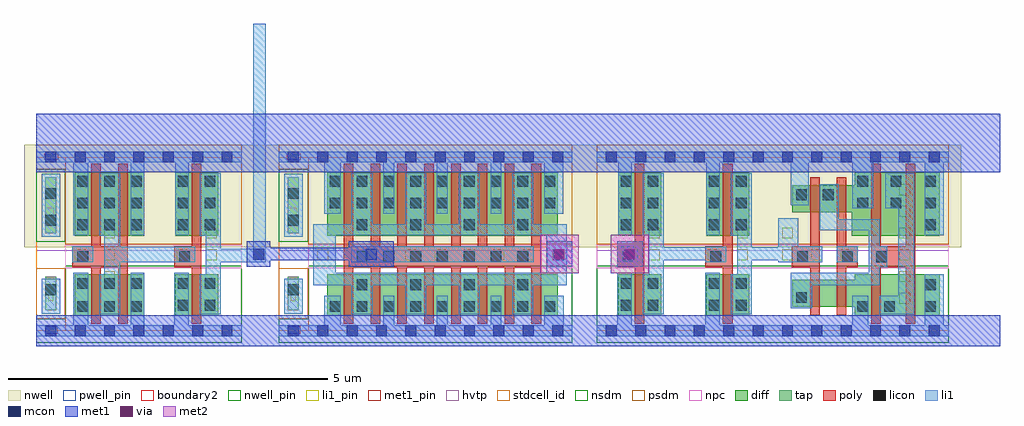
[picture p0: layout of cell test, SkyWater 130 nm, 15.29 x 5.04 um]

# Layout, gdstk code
import gdstk
lib = gdstk.Library(unit=1e-6, precision=1e-09)
def R(c, l, rs):  # rectangles x0, y0, x1, y1
    for r in rs: c.add(gdstk.rectangle(r[:2], r[2:], *l))
def A(c, l, x, y, w, h, nx, ny, dx, dy):  # array of equal rectangles
    R(c, l, [(x+i*dx, y+j*dy, x+i*dx+w, y+j*dy+h) for i in range(nx) for j in range(ny)])
def P(c, l, *ps):  # polygons
    for p in ps: c.add(gdstk.Polygon(p, *l))
nwell_pin = (64, 16)
nwell = (64, 20)
diff = (65, 20)
tap = (65, 44)
poly = (66, 20)
licon = (66, 44)
li1_pin = (67, 16)
li1 = (67, 20)
mcon = (67, 44)
met1_pin = (68, 16)
met1 = (68, 20)
via = (68, 44)
met2 = (69, 20)
hvtp = (78, 44)
stdcell_id = (81, 4)
nsdm = (93, 44)
psdm = (94, 20)
npc = (95, 20)
pwell_pin = (122, 16)
boundary2 = (236, 0)

sky130_fd_sc_hd__and2_2 = lib.new_cell('sky130_fd_sc_hd__and2_2')
R(sky130_fd_sc_hd__and2_2, nwell_pin, [(0.145,2.635,0.315,2.805)])
R(sky130_fd_sc_hd__and2_2, nwell, [(-0.19,1.305,2.95,2.91)])
P(sky130_fd_sc_hd__and2_2, diff, [(2.615,2.485),(1.285,2.485),(1.285,2.275),(0.305,2.275),(0.305,1.855),(1.235,1.855),(1.235,1.485),(2.615,1.485)],
  [(2.615,0.885),(1.285,0.885),(1.285,0.795),(0.305,0.795),(0.305,0.375),(1.285,0.375),(1.285,0.235),(2.615,0.235)])
P(sky130_fd_sc_hd__and2_2, poly, [(0.735,2.405),(0.585,2.405),(0.585,1.325),(0.3,1.325),(0.3,0.995),(0.585,0.995),(0.585,0.245),(0.735,0.245)],
  [(1.335,1.325),(1.155,1.325),(1.155,2.405),(1.005,2.405),(1.005,0.245),(1.155,0.245),(1.155,0.995),(1.335,0.995)],
  [(2.235,2.615),(2.085,2.615),(2.085,1.325),(1.695,1.325),(1.695,2.615),(1.545,2.615),(1.545,0.105),(1.695,0.105),(1.695,0.995),(2.085,0.995),(2.085,0.105),(2.235,0.105)])
A(sky130_fd_sc_hd__and2_2, licon, 2.385, 1.575, 0.17, 0.17, 1, 3, 0, 0.34)
R(sky130_fd_sc_hd__and2_2, licon, [(1.325,0.295,1.495,0.465), (1.745,0.295,1.915,0.465), (2.385,0.295,2.555,0.465), (0.365,0.435,0.535,0.605), (2.385,0.635,2.555,0.805), (0.38,1.075,0.55,1.245), (1.085,1.075,1.255,1.245), (1.625,1.075,1.795,1.245), (1.325,1.915,1.495,2.085), (1.845,1.915,2.015,2.085), (0.365,2.045,0.535,2.215), (0.785,2.045,0.955,2.215), (1.325,2.255,1.495,2.425), (1.845,2.255,2.015,2.425)])
A(sky130_fd_sc_hd__and2_2, li1_pin, 1.985, 0.425, 0.17, 0.17, 1, 6, 0, 0.34)
A(sky130_fd_sc_hd__and2_2, li1_pin, 0.145, 1.105, 0.17, 0.17, 3, 1, 0.46, 0)
R(sky130_fd_sc_hd__and2_2, li1_pin, [(0.145,1.445,0.315,1.615)])
R(sky130_fd_sc_hd__and2_2, li1, [(1.005,1.075,1.335,1.325)])
P(sky130_fd_sc_hd__and2_2, li1, [(0.085,1.075),(0.085,1.765),(0.4,1.765),(0.4,1.325),(0.775,1.325),(0.775,1.075)],
  [(1.795,1.325),(1.675,1.325),(1.675,1.745),(1.035,1.745),(1.035,2.295),(0.735,2.295),(0.735,1.575),(1.505,1.575),(1.505,0.905),(0.285,0.905),(0.285,0.355),(0.615,0.355),(0.615,0.715),(1.675,0.715),(1.675,0.995),(1.795,0.995)],
  [(2.76,0.085),(2.675,0.085),(2.675,0.885),(2.385,0.885),(2.385,0.085),(1.495,0.085),(1.495,0.545),(1.245,0.545),(1.245,0.085),(0,0.085),(0,-0.085),(2.76,-0.085)],
  [(2.215,2.465),(1.765,2.465),(1.765,1.915),(1.965,1.915),(1.965,0.545),(1.665,0.545),(1.665,0.255),(2.215,0.255)],
  [(2.76,2.805),(0,2.805),(0,2.635),(0.285,2.635),(0.285,1.965),(0.565,1.965),(0.565,2.635),(1.245,2.635),(1.245,1.915),(1.575,1.915),(1.575,2.635),(2.385,2.635),(2.385,1.495),(2.675,1.495),(2.675,2.635),(2.76,2.635)])
A(sky130_fd_sc_hd__and2_2, mcon, 0.145, -0.085, 0.17, 0.17, 6, 2, 0.46, 2.72)
R(sky130_fd_sc_hd__and2_2, met1_pin, [(0.145,-0.085,0.315,0.085), (0.145,2.635,0.315,2.805)])
R(sky130_fd_sc_hd__and2_2, hvtp, [(0,1.25,2.76,2.72)])
R(sky130_fd_sc_hd__and2_2, stdcell_id, [(0,0,2.76,2.72)])
R(sky130_fd_sc_hd__and2_2, nsdm, [(0,-0.19,2.76,1.015)])
R(sky130_fd_sc_hd__and2_2, psdm, [(0,1.355,2.76,2.91)])
R(sky130_fd_sc_hd__and2_2, npc, [(0,0.975,2.76,1.345)])
R(sky130_fd_sc_hd__and2_2, pwell_pin, [(0.145,-0.085,0.315,0.085)])
R(sky130_fd_sc_hd__and2_2, boundary2, [(0,0,2.76,2.72)])
sky130_fd_sc_hd__and2_2.add(gdstk.FlexPath([(0,0),(2.76,0)], 0.48, ends="flush", simple_path=True, layer=68, datatype=20))  # met1
sky130_fd_sc_hd__and2_2.add(gdstk.FlexPath([(0,2.72),(2.76,2.72)], 0.48, ends="flush", simple_path=True, layer=68, datatype=20))  # met1
sky130_fd_sc_hd__and2_2.add(gdstk.Label('VPWR', (0.23,2.72), layer=68, texttype=5))
sky130_fd_sc_hd__and2_2.add(gdstk.Label('VGND', (0.23,0), layer=68, texttype=5))
sky130_fd_sc_hd__and2_2.add(gdstk.Label('A', (0.69,1.19), layer=67, texttype=5))
sky130_fd_sc_hd__and2_2.add(gdstk.Label('X', (2.07,0.85), layer=67, texttype=5))
sky130_fd_sc_hd__and2_2.add(gdstk.Label('A', (0.23,1.19), layer=67, texttype=5))
sky130_fd_sc_hd__and2_2.add(gdstk.Label('X', (2.07,0.51), layer=67, texttype=5))
sky130_fd_sc_hd__and2_2.add(gdstk.Label('X', (2.07,1.19), layer=67, texttype=5))
sky130_fd_sc_hd__and2_2.add(gdstk.Label('X', (2.07,1.53), layer=67, texttype=5))
sky130_fd_sc_hd__and2_2.add(gdstk.Label('X', (2.07,1.87), layer=67, texttype=5))
sky130_fd_sc_hd__and2_2.add(gdstk.Label('X', (2.07,2.21), layer=67, texttype=5))
sky130_fd_sc_hd__and2_2.add(gdstk.Label('B', (1.15,1.19), layer=67, texttype=5))
sky130_fd_sc_hd__and2_2.add(gdstk.Label('VPB', (0.23,2.72), layer=64, texttype=5))
sky130_fd_sc_hd__and2_2.add(gdstk.Label('VNB', (0.23,0), layer=64, texttype=59))
sky130_fd_sc_hd__and2_2.add(gdstk.Label('and2_2', (0,0), layer=83, texttype=44))

sky130_fd_sc_hd__inv_1 = lib.new_cell('sky130_fd_sc_hd__inv_1')
R(sky130_fd_sc_hd__inv_1, nwell_pin, [(0.145,2.635,0.315,2.805), (0.145,2.635,0.315,2.805)])
R(sky130_fd_sc_hd__inv_1, nwell, [(-0.19,1.305,1.57,2.91)])
R(sky130_fd_sc_hd__inv_1, diff, [(0.34,0.235,1.01,0.885), (0.34,1.485,1.01,2.485)])
P(sky130_fd_sc_hd__inv_1, poly, [(0.75,2.615),(0.6,2.615),(0.6,1.325),(0.32,1.325),(0.32,0.995),(0.6,0.995),(0.6,0.105),(0.75,0.105)])
A(sky130_fd_sc_hd__inv_1, licon, 0.38, 1.575, 0.17, 0.17, 1, 3, 0, 0.34)
A(sky130_fd_sc_hd__inv_1, licon, 0.8, 1.575, 0.17, 0.17, 1, 3, 0, 0.34)
R(sky130_fd_sc_hd__inv_1, licon, [(0.38,0.315,0.55,0.485), (0.8,0.315,0.97,0.485), (0.38,0.655,0.55,0.825), (0.8,0.655,0.97,0.825), (0.4,1.075,0.57,1.245)])
R(sky130_fd_sc_hd__inv_1, li1_pin, [(0.36,1.105,0.53,1.275), (0.82,1.105,0.99,1.275), (0.82,1.445,0.99,1.615)])
R(sky130_fd_sc_hd__inv_1, li1, [(0,-0.085,1.38,0.085), (0.32,0.005,0.55,0.905), (0.32,1.075,0.65,1.315), (0.34,1.495,0.55,2.675), (0,2.635,1.38,2.805)])
P(sky130_fd_sc_hd__inv_1, li1, [(1.05,2.465),(0.72,2.465),(0.72,1.485),(0.82,1.485),(0.82,0.885),(0.72,0.885),(0.72,0.255),(1.05,0.255)])
A(sky130_fd_sc_hd__inv_1, mcon, 0.145, -0.085, 0.17, 0.17, 3, 2, 0.46, 2.72)
R(sky130_fd_sc_hd__inv_1, met1_pin, [(0.145,-0.085,0.315,0.085), (0.145,-0.085,0.315,0.085), (0.145,2.635,0.315,2.805), (0.145,2.635,0.315,2.805)])
R(sky130_fd_sc_hd__inv_1, hvtp, [(0,1.25,1.38,2.72)])
R(sky130_fd_sc_hd__inv_1, stdcell_id, [(0,0,1.38,2.72)])
R(sky130_fd_sc_hd__inv_1, nsdm, [(0,-0.19,1.38,1.015)])
R(sky130_fd_sc_hd__inv_1, psdm, [(0,1.355,1.38,2.91)])
R(sky130_fd_sc_hd__inv_1, npc, [(0,0.975,1.38,1.345)])
R(sky130_fd_sc_hd__inv_1, pwell_pin, [(0.145,-0.085,0.315,0.085), (0.145,-0.085,0.315,0.085)])
R(sky130_fd_sc_hd__inv_1, boundary2, [(0,0,1.38,2.72)])
sky130_fd_sc_hd__inv_1.add(gdstk.FlexPath([(0,2.72),(1.38,2.72)], 0.48, ends="flush", simple_path=True, layer=68, datatype=20))  # met1
sky130_fd_sc_hd__inv_1.add(gdstk.FlexPath([(0,0),(1.38,0)], 0.48, ends="flush", simple_path=True, layer=68, datatype=20))  # met1
sky130_fd_sc_hd__inv_1.add(gdstk.Label('Y', (0.905,1.53), layer=67, texttype=5))
sky130_fd_sc_hd__inv_1.add(gdstk.Label('Y', (0.905,1.19), layer=67, texttype=5))
sky130_fd_sc_hd__inv_1.add(gdstk.Label('A', (0.445,1.19), layer=67, texttype=5))
sky130_fd_sc_hd__inv_1.add(gdstk.Label('VPB', (0.23,2.72), layer=64, texttype=5))
sky130_fd_sc_hd__inv_1.add(gdstk.Label('VNB', (0.23,0), layer=64, texttype=59))
sky130_fd_sc_hd__inv_1.add(gdstk.Label('VGND', (0.23,0), layer=68, texttype=5))
sky130_fd_sc_hd__inv_1.add(gdstk.Label('VPWR', (0.23,2.72), layer=68, texttype=5))
sky130_fd_sc_hd__inv_1.add(gdstk.Label('inv_1', (0,0), layer=83, texttype=44))

sky130_fd_sc_hd__inv_8 = lib.new_cell('sky130_fd_sc_hd__inv_8')
R(sky130_fd_sc_hd__inv_8, nwell_pin, [(0.145,2.635,0.315,2.805)])
R(sky130_fd_sc_hd__inv_8, nwell, [(-0.19,1.305,4.33,2.91)])
R(sky130_fd_sc_hd__inv_8, diff, [(0.3,0.235,3.91,0.885), (0.3,1.485,3.91,2.485)])
P(sky130_fd_sc_hd__inv_8, poly, [(3.65,2.615),(3.5,2.615),(3.5,1.325),(3.23,1.325),(3.23,2.615),(3.08,2.615),(3.08,1.325),(2.81,1.325),(2.81,2.615),(2.66,2.615),(2.66,1.325),(2.39,1.325),(2.39,2.615),(2.24,2.615),(2.24,1.325),(1.97,1.325),(1.97,2.615),(1.82,2.615),(1.82,1.325),(1.55,1.325),(1.55,2.615),(1.4,2.615),(1.4,1.325),(1.13,1.325),(1.13,2.615),(0.98,2.615),(0.98,1.325),(0.71,1.325),(0.71,2.615),(0.56,2.615),(0.56,0.105),(0.71,0.105),(0.71,0.995),(0.98,0.995),(0.98,0.105),(1.13,0.105),(1.13,0.995),(1.4,0.995),(1.4,0.105),(1.55,0.105),(1.55,0.995),(1.82,0.995),(1.82,0.105),(1.97,0.105),(1.97,0.995),(2.24,0.995),(2.24,0.105),(2.39,0.105),(2.39,0.995),(2.66,0.995),(2.66,0.105),(2.81,0.105),(2.81,0.995),(3.08,0.995),(3.08,0.105),(3.23,0.105),(3.23,0.995),(3.5,0.995),(3.5,0.105),(3.65,0.105)])
A(sky130_fd_sc_hd__inv_8, licon, 0.34, 0.295, 0.17, 0.17, 9, 2, 0.42, 1.62)
A(sky130_fd_sc_hd__inv_8, licon, 0.76, 0.635, 0.17, 0.17, 4, 2, 0.84, 0.94)
A(sky130_fd_sc_hd__inv_8, licon, 0.76, 1.075, 0.17, 0.17, 7, 1, 0.42, 0)
A(sky130_fd_sc_hd__inv_8, licon, 0.34, 2.255, 0.17, 0.17, 9, 1, 0.42, 0)
A(sky130_fd_sc_hd__inv_8, li1_pin, 1.065, 1.105, 0.17, 0.17, 7, 1, 0.46, 0)
R(sky130_fd_sc_hd__inv_8, li1_pin, [(0.145,1.105,0.315,1.275)])
R(sky130_fd_sc_hd__inv_8, li1, [(0.68,1.075,3.535,1.325)])
P(sky130_fd_sc_hd__inv_8, li1, [(4.055,1.665),(3.735,1.665),(3.735,0.905),(0.43,0.905),(0.43,1.495),(3.735,1.495),(3.735,1.665),(3.53,1.665),(3.53,2.465),(3.2,2.465),(3.2,1.665),(2.69,1.665),(2.69,2.465),(2.36,2.465),(2.36,1.665),(1.85,1.665),(1.85,2.465),(1.52,2.465),(1.52,1.665),(1.01,1.665),(1.01,2.465),(0.68,2.465),(0.68,1.665),(0.085,1.665),(0.085,0.715),(0.68,0.715),(0.68,0.255),(1.01,0.255),(1.01,0.715),(1.52,0.715),(1.52,0.255),(1.85,0.255),(1.85,0.715),(2.36,0.715),(2.36,0.255),(2.69,0.255),(2.69,0.715),(3.2,0.715),(3.2,0.255),(3.53,0.255),(3.53,0.715),(4.055,0.715)],
  [(4.14,0.085),(4.005,0.085),(4.005,0.545),(3.7,0.545),(3.7,0.085),(3.03,0.085),(3.03,0.545),(2.86,0.545),(2.86,0.085),(2.19,0.085),(2.19,0.545),(2.02,0.545),(2.02,0.085),(1.35,0.085),(1.35,0.545),(1.18,0.545),(1.18,0.085),(0.51,0.085),(0.51,0.545),(0.255,0.545),(0.255,0.085),(0,0.085),(0,-0.085),(4.14,-0.085)],
  [(4.14,2.805),(0,2.805),(0,2.635),(0.255,2.635),(0.255,1.835),(0.51,1.835),(0.51,2.635),(1.18,2.635),(1.18,1.835),(1.35,1.835),(1.35,2.635),(2.02,2.635),(2.02,1.835),(2.19,1.835),(2.19,2.635),(2.86,2.635),(2.86,1.835),(3.03,1.835),(3.03,2.635),(3.7,2.635),(3.7,1.835),(4,1.835),(4,2.635),(4.14,2.635)])
A(sky130_fd_sc_hd__inv_8, mcon, 0.145, -0.085, 0.17, 0.17, 9, 2, 0.46, 2.72)
R(sky130_fd_sc_hd__inv_8, met1_pin, [(0.145,-0.085,0.315,0.085), (0.145,2.635,0.315,2.805)])
R(sky130_fd_sc_hd__inv_8, hvtp, [(0,1.25,4.14,2.72)])
R(sky130_fd_sc_hd__inv_8, stdcell_id, [(0,0,4.14,2.72)])
R(sky130_fd_sc_hd__inv_8, nsdm, [(0,-0.19,4.14,1.015)])
R(sky130_fd_sc_hd__inv_8, psdm, [(0,1.355,4.14,2.91)])
R(sky130_fd_sc_hd__inv_8, npc, [(0,0.975,4.14,1.345)])
R(sky130_fd_sc_hd__inv_8, pwell_pin, [(0.145,-0.085,0.315,0.085)])
R(sky130_fd_sc_hd__inv_8, boundary2, [(0,0,4.14,2.72)])
sky130_fd_sc_hd__inv_8.add(gdstk.FlexPath([(0,2.72),(4.14,2.72)], 0.48, ends="flush", simple_path=True, layer=68, datatype=20))  # met1
sky130_fd_sc_hd__inv_8.add(gdstk.FlexPath([(0,0),(4.14,0)], 0.48, ends="flush", simple_path=True, layer=68, datatype=20))  # met1
sky130_fd_sc_hd__inv_8.add(gdstk.Label('A', (1.15,1.19), layer=67, texttype=5))
sky130_fd_sc_hd__inv_8.add(gdstk.Label('A', (1.61,1.19), layer=67, texttype=5))
sky130_fd_sc_hd__inv_8.add(gdstk.Label('A', (2.07,1.19), layer=67, texttype=5))
sky130_fd_sc_hd__inv_8.add(gdstk.Label('A', (2.53,1.19), layer=67, texttype=5))
sky130_fd_sc_hd__inv_8.add(gdstk.Label('A', (2.99,1.19), layer=67, texttype=5))
sky130_fd_sc_hd__inv_8.add(gdstk.Label('A', (3.45,1.19), layer=67, texttype=5))
sky130_fd_sc_hd__inv_8.add(gdstk.Label('Y', (3.91,1.19), layer=67, texttype=5))
sky130_fd_sc_hd__inv_8.add(gdstk.Label('Y', (0.23,1.19), layer=67, texttype=5))
sky130_fd_sc_hd__inv_8.add(gdstk.Label('VNB', (0.23,0), layer=64, texttype=59))
sky130_fd_sc_hd__inv_8.add(gdstk.Label('VPB', (0.23,2.72), layer=64, texttype=5))
sky130_fd_sc_hd__inv_8.add(gdstk.Label('VGND', (0.23,0), layer=68, texttype=5))
sky130_fd_sc_hd__inv_8.add(gdstk.Label('VPWR', (0.23,2.72), layer=68, texttype=5))
sky130_fd_sc_hd__inv_8.add(gdstk.Label('inv_8', (0,0), layer=83, texttype=44))

sky130_fd_sc_hd__tap_1 = lib.new_cell('sky130_fd_sc_hd__tap_1')
R(sky130_fd_sc_hd__tap_1, nwell, [(-0.19,1.305,0.65,2.91)])
R(sky130_fd_sc_hd__tap_1, tap, [(0.145,0.32,0.315,0.845), (0.145,1.525,0.315,2.4)])
R(sky130_fd_sc_hd__tap_1, licon, [(0.145,0.555,0.315,0.725), (0.145,1.645,0.315,1.815), (0.145,2.065,0.315,2.235)])
R(sky130_fd_sc_hd__tap_1, li1_pin, [(0.19,0.47,0.27,0.565), (0.145,1.81,0.285,1.93)])
R(sky130_fd_sc_hd__tap_1, li1, [(0.085,0.265,0.375,0.81), (0.085,1.47,0.375,2.455)])
R(sky130_fd_sc_hd__tap_1, mcon, [(0.145,-0.085,0.315,0.085), (0.145,2.635,0.315,2.805)])
R(sky130_fd_sc_hd__tap_1, met1_pin, [(0.14,-0.05,0.34,0.07), (0.13,2.675,0.345,2.775)])
R(sky130_fd_sc_hd__tap_1, hvtp, [(0,1.25,0.46,2.72)])
R(sky130_fd_sc_hd__tap_1, stdcell_id, [(0,0,0.46,2.72)])
R(sky130_fd_sc_hd__tap_1, nsdm, [(0,-0.19,0.46,0.19), (0,1.395,0.46,2.53)])
R(sky130_fd_sc_hd__tap_1, psdm, [(0,0.19,0.46,0.975), (0,2.53,0.46,2.91)])
sky130_fd_sc_hd__tap_1.add(gdstk.FlexPath([(0,2.72),(0.46,2.72)], 0.48, ends="flush", simple_path=True, layer=68, datatype=20))  # met1
sky130_fd_sc_hd__tap_1.add(gdstk.FlexPath([(0,0),(0.46,0)], 0.48, ends="flush", simple_path=True, layer=68, datatype=20))  # met1
sky130_fd_sc_hd__tap_1.add(gdstk.FlexPath([(0,0),(0.46,0)], 0.17, ends="flush", simple_path=True, layer=67, datatype=20))  # li1
sky130_fd_sc_hd__tap_1.add(gdstk.FlexPath([(0,2.72),(0.46,2.72)], 0.17, ends="flush", simple_path=True, layer=67, datatype=20))  # li1
sky130_fd_sc_hd__tap_1.add(gdstk.Label('VGND', (0.23,0), layer=68, texttype=5))
sky130_fd_sc_hd__tap_1.add(gdstk.Label('VPWR', (0.23,2.72), layer=68, texttype=5))
sky130_fd_sc_hd__tap_1.add(gdstk.Label('VNB', (0.23,0.51), layer=67, texttype=5))
sky130_fd_sc_hd__tap_1.add(gdstk.Label('VPB', (0.23,1.87), layer=67, texttype=5))
sky130_fd_sc_hd__tap_1.add(gdstk.Label('tap_1', (0,0), layer=83, texttype=44))

sky130_fd_sc_hd__inv_2 = lib.new_cell('sky130_fd_sc_hd__inv_2')
R(sky130_fd_sc_hd__inv_2, nwell_pin, [(0.145,2.635,0.315,2.805)])
R(sky130_fd_sc_hd__inv_2, nwell, [(-0.19,1.305,1.57,2.91)])
R(sky130_fd_sc_hd__inv_2, diff, [(0.145,0.235,1.235,0.885), (0.145,1.485,1.235,2.485)])
P(sky130_fd_sc_hd__inv_2, poly, [(0.975,2.615),(0.825,2.615),(0.825,1.325),(0.555,1.325),(0.555,2.615),(0.405,2.615),(0.405,1.325),(0.105,1.325),(0.105,0.995),(0.405,0.995),(0.405,0.105),(0.555,0.105),(0.555,0.995),(0.825,0.995),(0.825,0.105),(0.975,0.105)])
A(sky130_fd_sc_hd__inv_2, licon, 0.185, 0.295, 0.17, 0.17, 3, 2, 0.42, 0.36)
A(sky130_fd_sc_hd__inv_2, licon, 0.185, 1.575, 0.17, 0.17, 3, 3, 0.42, 0.34)
R(sky130_fd_sc_hd__inv_2, licon, [(0.185,1.075,0.355,1.245)])
A(sky130_fd_sc_hd__inv_2, li1_pin, 0.605, 0.765, 0.17, 0.17, 1, 3, 0, 0.34)
R(sky130_fd_sc_hd__inv_2, li1_pin, [(0.145,1.105,0.315,1.275)])
R(sky130_fd_sc_hd__inv_2, li1, [(0.105,1.075,0.435,1.325)])
P(sky130_fd_sc_hd__inv_2, li1, [(1.38,2.805),(0,2.805),(0,2.635),(0.125,2.635),(0.125,1.495),(0.355,1.495),(0.355,2.635),(1.025,2.635),(1.025,1.495),(1.235,1.495),(1.235,2.635),(1.38,2.635)],
  [(0.855,2.465),(0.525,2.465),(0.525,1.485),(0.605,1.485),(0.605,0.885),(0.525,0.885),(0.525,0.255),(0.855,0.255)],
  [(1.38,0.085),(1.235,0.085),(1.235,0.905),(1.025,0.905),(1.025,0.085),(0.355,0.085),(0.355,0.905),(0.125,0.905),(0.125,0.085),(0,0.085),(0,-0.085),(1.38,-0.085)])
A(sky130_fd_sc_hd__inv_2, mcon, 0.145, -0.085, 0.17, 0.17, 3, 2, 0.46, 2.72)
R(sky130_fd_sc_hd__inv_2, met1_pin, [(0.145,-0.085,0.315,0.085), (0.145,2.635,0.315,2.805)])
R(sky130_fd_sc_hd__inv_2, hvtp, [(0,1.25,1.38,2.72)])
R(sky130_fd_sc_hd__inv_2, stdcell_id, [(0,0,1.38,2.72)])
R(sky130_fd_sc_hd__inv_2, nsdm, [(0,-0.19,1.38,1.015)])
R(sky130_fd_sc_hd__inv_2, psdm, [(0,1.355,1.38,2.91)])
R(sky130_fd_sc_hd__inv_2, npc, [(0,0.975,1.38,1.345)])
R(sky130_fd_sc_hd__inv_2, pwell_pin, [(0.145,-0.085,0.315,0.085)])
R(sky130_fd_sc_hd__inv_2, boundary2, [(0,0,1.38,2.72)])
sky130_fd_sc_hd__inv_2.add(gdstk.FlexPath([(0,2.72),(1.38,2.72)], 0.48, ends="flush", simple_path=True, layer=68, datatype=20))  # met1
sky130_fd_sc_hd__inv_2.add(gdstk.FlexPath([(0,0),(1.38,0)], 0.48, ends="flush", simple_path=True, layer=68, datatype=20))  # met1
sky130_fd_sc_hd__inv_2.add(gdstk.Label('A', (0.23,1.19), layer=67, texttype=5))
sky130_fd_sc_hd__inv_2.add(gdstk.Label('Y', (0.69,0.85), layer=67, texttype=5))
sky130_fd_sc_hd__inv_2.add(gdstk.Label('Y', (0.69,1.53), layer=67, texttype=5))
sky130_fd_sc_hd__inv_2.add(gdstk.Label('Y', (0.69,1.19), layer=67, texttype=5))
sky130_fd_sc_hd__inv_2.add(gdstk.Label('VPB', (0.23,2.72), layer=64, texttype=5))
sky130_fd_sc_hd__inv_2.add(gdstk.Label('VNB', (0.23,0), layer=64, texttype=59))
sky130_fd_sc_hd__inv_2.add(gdstk.Label('VPWR', (0.23,2.72), layer=68, texttype=5))
sky130_fd_sc_hd__inv_2.add(gdstk.Label('VGND', (0.23,0), layer=68, texttype=5))
sky130_fd_sc_hd__inv_2.add(gdstk.Label('inv_2', (0,0), layer=83, texttype=44))

test = lib.new_cell('test')
R(test, nwell, [(3.41,1.305,3.7,2.91)])
R(test, li1, [(1.1,1.075,2.4,1.315), (2.7,1.075,3.6,1.285), (8.1,1.1,8.27,1.27), (9.2,1.1,9.37,1.27), (9.8,1.1,10.8,1.31), (11,1.1,12,1.31), (5,1.11,5.5,1.28), (3.4,1.285,3.6,4.805)])
R(test, mcon, [(8.1,1.1,8.27,1.27), (9.2,1.1,9.37,1.27), (3.4,1.11,3.57,1.28), (5.165,1.11,5.335,1.28)])
R(test, met1, [(0,-0.24,15.1,0.24), (3.3,1,3.67,1.1), (4.9,1,5.6,1.1), (8,1,8.4,1.4), (9.1,1,9.5,1.4), (3.3,1.1,5.6,1.3), (3.3,1.3,3.67,1.4), (4.9,1.3,5.6,1.4), (0,2.48,15.1,3.4)])
R(test, via, [(8.125,1.125,8.275,1.275), (9.225,1.125,9.375,1.275)])
R(test, met2, [(7.9,0.9,8.5,1.5), (9,0.9,9.6,1.5)])
R(test, nsdm, [(1.82,0.11,2.055,1.01)])
R(test, psdm, [(1.82,1.36,2.055,2.61)])
test.add(gdstk.Reference(sky130_fd_sc_hd__and2_2, (11.54,0)))
test.add(gdstk.Reference(sky130_fd_sc_hd__inv_1, (10.16,0)))
test.add(gdstk.Reference(sky130_fd_sc_hd__inv_1, (8.78,0)))
test.add(gdstk.Reference(sky130_fd_sc_hd__inv_8, (4.26,0)))
test.add(gdstk.Reference(sky130_fd_sc_hd__tap_1, (3.8,0)))
test.add(gdstk.Reference(sky130_fd_sc_hd__inv_1, (1.84,0)))
test.add(gdstk.Reference(sky130_fd_sc_hd__inv_2, (0.46,0)))
test.add(gdstk.Reference(sky130_fd_sc_hd__tap_1, (0,0)))

lib.write_gds('test.gds')
